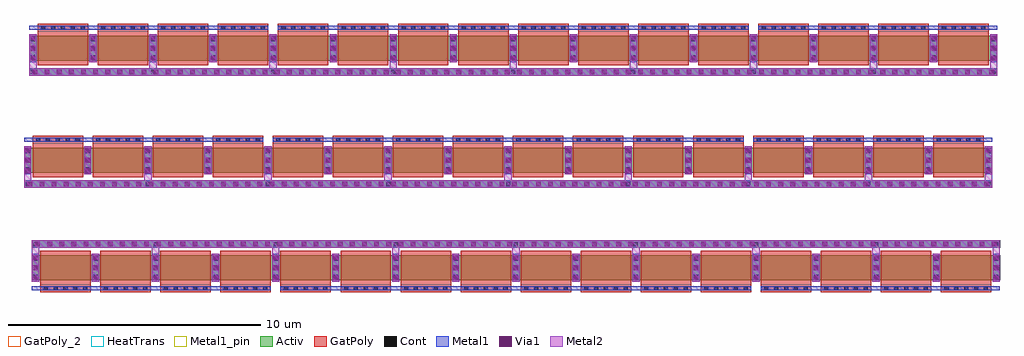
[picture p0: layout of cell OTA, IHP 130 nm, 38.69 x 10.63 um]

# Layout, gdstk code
import gdstk
lib = gdstk.Library(unit=1e-6, precision=1e-09)
def R(c, l, rs):  # rectangles x0, y0, x1, y1
    for r in rs: c.add(gdstk.rectangle(r[:2], r[2:], *l))
def A(c, l, x, y, w, h, nx, ny, dx, dy):  # array of equal rectangles
    R(c, l, [(x+i*dx, y+j*dy, x+i*dx+w, y+j*dy+h) for i in range(nx) for j in range(ny)])
Activ = (1, 0)
GatPoly = (5, 0)
GatPoly_2 = (5, 2)
Cont = (6, 0)
Metal1 = (8, 0)
Metal1_pin = (8, 2)
Metal2 = (10, 0)
Via1 = (19, 0)
HeatTrans = (51, 0)

nmos = lib.new_cell('nmos')
A(nmos, Activ, 0, 0, 0.3, 0.3, 17, 1, 2.38, 0)
R(nmos, Activ, [(0,0,38.38,1)])
A(nmos, GatPoly, 0.34, -0.18, 2, 1.36, 16, 1, 2.38, 0)
R(nmos, GatPoly_2, [(0.34,-0.18,2.34,1.18)])
A(nmos, Cont, 0.07, 0.07, 0.16, 0.16, 17, 3, 2.38, 0.35)
A(nmos, Metal1, 0.07, 0, 0.16, 1, 17, 1, 2.38, 0)
R(nmos, Metal1_pin, [(0.07,0,0.23,1), (2.45,0,2.61,1)])
A(nmos, HeatTrans, 0.34, -0.18, 2, 1.36, 16, 1, 2.38, 0)
nmos.add(gdstk.Label('nmos', (1.34,0.5), layer=63, texttype=0))
nmos.add(gdstk.Label('nmos', (1.34,0.5), layer=51, texttype=0))
nmos.add(gdstk.Label('nmos', (3.72,0.5), layer=51, texttype=0))
nmos.add(gdstk.Label('nmos', (6.1,0.5), layer=51, texttype=0))
nmos.add(gdstk.Label('nmos', (8.48,0.5), layer=51, texttype=0))
nmos.add(gdstk.Label('nmos', (10.86,0.5), layer=51, texttype=0))
nmos.add(gdstk.Label('nmos', (13.24,0.5), layer=51, texttype=0))
nmos.add(gdstk.Label('nmos', (15.62,0.5), layer=51, texttype=0))
nmos.add(gdstk.Label('nmos', (18,0.5), layer=51, texttype=0))
nmos.add(gdstk.Label('nmos', (20.38,0.5), layer=51, texttype=0))
nmos.add(gdstk.Label('nmos', (22.76,0.5), layer=51, texttype=0))
nmos.add(gdstk.Label('nmos', (25.14,0.5), layer=51, texttype=0))
nmos.add(gdstk.Label('nmos', (27.52,0.5), layer=51, texttype=0))
nmos.add(gdstk.Label('nmos', (29.9,0.5), layer=51, texttype=0))
nmos.add(gdstk.Label('nmos', (32.28,0.5), layer=51, texttype=0))
nmos.add(gdstk.Label('nmos', (34.66,0.5), layer=51, texttype=0))
nmos.add(gdstk.Label('nmos', (37.04,0.5), layer=51, texttype=0))

via_stack_1 = lib.new_cell('via_stack$1')
R(via_stack_1, Metal1, [(-0.145,-0.555,0.145,0.555)])
R(via_stack_1, Metal2, [(-0.145,-0.555,0.145,0.555)])
A(via_stack_1, Via1, -0.095, -0.505, 0.19, 0.19, 1, 3, 0, 0.41)

via_stack = lib.new_cell('via_stack')
R(via_stack, Metal1, [(-19.105,-0.145,19.105,0.145)])
R(via_stack, Metal2, [(-19.105,-0.145,19.105,0.145)])
A(via_stack, Via1, -19.055, -0.095, 0.19, 0.19, 80, 1, 0.48, 0)

ota = lib.new_cell('OTA')
R(ota, Activ, [(0.305,-2.97,38.685,-2.67), (0,-0.59,38.38,-0.29), (0.205,3.85,38.585,4.15)])
A(ota, GatPoly, 0.645, -4.725, 2, 0.29, 16, 1, 2.38, 0)
A(ota, GatPoly, 0.34, 1.175, 2, 0.29, 16, 1, 2.38, 0)
A(ota, GatPoly, 0.545, 5.615, 2, 0.29, 16, 1, 2.38, 0)
A(ota, Cont, 0.785, -4.655, 0.16, 0.16, 5, 1, 0.39, 0)
A(ota, Cont, 3.165, -4.655, 0.16, 0.16, 5, 1, 0.39, 0)
A(ota, Cont, 5.545, -4.655, 0.16, 0.16, 5, 1, 0.39, 0)
A(ota, Cont, 7.925, -4.655, 0.16, 0.16, 5, 1, 0.39, 0)
A(ota, Cont, 10.305, -4.655, 0.16, 0.16, 5, 1, 0.39, 0)
A(ota, Cont, 12.685, -4.655, 0.16, 0.16, 5, 1, 0.39, 0)
A(ota, Cont, 15.065, -4.655, 0.16, 0.16, 5, 1, 0.39, 0)
A(ota, Cont, 17.445, -4.655, 0.16, 0.16, 5, 1, 0.39, 0)
A(ota, Cont, 19.825, -4.655, 0.16, 0.16, 5, 1, 0.39, 0)
A(ota, Cont, 22.205, -4.655, 0.16, 0.16, 5, 1, 0.39, 0)
A(ota, Cont, 24.585, -4.655, 0.16, 0.16, 5, 1, 0.39, 0)
A(ota, Cont, 26.965, -4.655, 0.16, 0.16, 5, 1, 0.39, 0)
A(ota, Cont, 29.345, -4.655, 0.16, 0.16, 5, 1, 0.39, 0)
A(ota, Cont, 31.725, -4.655, 0.16, 0.16, 5, 1, 0.39, 0)
A(ota, Cont, 34.105, -4.655, 0.16, 0.16, 5, 1, 0.39, 0)
A(ota, Cont, 36.485, -4.655, 0.16, 0.16, 5, 1, 0.39, 0)
A(ota, Cont, 5.135, -2.9, 0.16, 0.16, 8, 1, 4.76, 0)
A(ota, Cont, 4.83, -0.52, 0.16, 0.16, 8, 1, 4.76, 0)
A(ota, Cont, 0.48, 1.235, 0.16, 0.16, 5, 1, 0.39, 0)
A(ota, Cont, 2.86, 1.235, 0.16, 0.16, 5, 1, 0.39, 0)
A(ota, Cont, 5.24, 1.235, 0.16, 0.16, 5, 1, 0.39, 0)
A(ota, Cont, 7.62, 1.235, 0.16, 0.16, 5, 1, 0.39, 0)
A(ota, Cont, 10, 1.235, 0.16, 0.16, 5, 1, 0.39, 0)
A(ota, Cont, 12.38, 1.235, 0.16, 0.16, 5, 1, 0.39, 0)
A(ota, Cont, 14.76, 1.235, 0.16, 0.16, 5, 1, 0.39, 0)
A(ota, Cont, 17.14, 1.235, 0.16, 0.16, 5, 1, 0.39, 0)
A(ota, Cont, 19.52, 1.235, 0.16, 0.16, 5, 1, 0.39, 0)
A(ota, Cont, 21.9, 1.235, 0.16, 0.16, 5, 1, 0.39, 0)
A(ota, Cont, 24.28, 1.235, 0.16, 0.16, 5, 1, 0.39, 0)
A(ota, Cont, 26.66, 1.235, 0.16, 0.16, 5, 1, 0.39, 0)
A(ota, Cont, 29.04, 1.235, 0.16, 0.16, 5, 1, 0.39, 0)
A(ota, Cont, 31.42, 1.235, 0.16, 0.16, 5, 1, 0.39, 0)
A(ota, Cont, 33.8, 1.235, 0.16, 0.16, 5, 1, 0.39, 0)
A(ota, Cont, 36.18, 1.235, 0.16, 0.16, 5, 1, 0.39, 0)
A(ota, Cont, 5.035, 3.92, 0.16, 0.16, 8, 1, 4.76, 0)
A(ota, Cont, 0.685, 5.675, 0.16, 0.16, 5, 1, 0.39, 0)
A(ota, Cont, 3.065, 5.675, 0.16, 0.16, 5, 1, 0.39, 0)
A(ota, Cont, 5.445, 5.675, 0.16, 0.16, 5, 1, 0.39, 0)
A(ota, Cont, 7.825, 5.675, 0.16, 0.16, 5, 1, 0.39, 0)
A(ota, Cont, 10.205, 5.675, 0.16, 0.16, 5, 1, 0.39, 0)
A(ota, Cont, 12.585, 5.675, 0.16, 0.16, 5, 1, 0.39, 0)
A(ota, Cont, 14.965, 5.675, 0.16, 0.16, 5, 1, 0.39, 0)
A(ota, Cont, 17.345, 5.675, 0.16, 0.16, 5, 1, 0.39, 0)
A(ota, Cont, 19.725, 5.675, 0.16, 0.16, 5, 1, 0.39, 0)
A(ota, Cont, 22.105, 5.675, 0.16, 0.16, 5, 1, 0.39, 0)
A(ota, Cont, 24.485, 5.675, 0.16, 0.16, 5, 1, 0.39, 0)
A(ota, Cont, 26.865, 5.675, 0.16, 0.16, 5, 1, 0.39, 0)
A(ota, Cont, 29.245, 5.675, 0.16, 0.16, 5, 1, 0.39, 0)
A(ota, Cont, 31.625, 5.675, 0.16, 0.16, 5, 1, 0.39, 0)
A(ota, Cont, 34.005, 5.675, 0.16, 0.16, 5, 1, 0.39, 0)
A(ota, Cont, 36.385, 5.675, 0.16, 0.16, 5, 1, 0.39, 0)
R(ota, Cont, [(0.375,-2.9,0.535,-2.74), (0.375,-2.9,0.535,-2.74), (5.135,-2.9,5.295,-2.74), (0.07,-0.52,0.23,-0.36), (0.07,-0.52,0.23,-0.36), (4.83,-0.52,4.99,-0.36), (0.275,3.92,0.435,4.08), (0.275,3.92,0.435,4.08), (5.035,3.92,5.195,4.08)])
R(ota, Metal1, [(0.31,-2.965,0.415,-2.675), (38.585,-2.965,38.68,-2.675), (0.005,-0.585,0.11,-0.295), (38.28,-0.585,38.375,-0.295), (0.21,3.855,0.315,4.145), (38.485,3.855,38.58,4.145)])
R(ota, Metal2, [(0.31,-2.965,0.415,-2.675), (38.555,-2.965,38.68,-2.675), (0.005,-0.585,0.11,-0.295), (38.25,-0.585,38.375,-0.295), (0.21,3.855,0.315,4.145), (38.455,3.855,38.58,4.145)])
ota.add(gdstk.FlexPath([(9.785,-4.575),(0.31,-4.575)], 0.16, ends="flush", simple_path=True, layer=8, datatype=0))  # Metal1
ota.add(gdstk.FlexPath([(28.825,-4.575),(10.165,-4.575)], 0.16, ends="flush", simple_path=True, layer=8, datatype=0))  # Metal1
ota.add(gdstk.FlexPath([(29.205,-4.575),(38.68,-4.575)], 0.16, ends="flush", simple_path=True, layer=8, datatype=0))  # Metal1
ota.add(gdstk.FlexPath([(9.685,5.755),(0.21,5.755)], 0.16, ends="flush", simple_path=True, layer=8, datatype=0))  # Metal1
ota.add(gdstk.FlexPath([(28.725,5.755),(10.065,5.755)], 0.16, ends="flush", simple_path=True, layer=8, datatype=0))  # Metal1
ota.add(gdstk.FlexPath([(29.105,5.755),(38.58,5.755)], 0.16, ends="flush", simple_path=True, layer=8, datatype=0))  # Metal1
ota.add(gdstk.FlexPath([(9.48,1.315),(0.005,1.315)], 0.16, ends="flush", simple_path=True, layer=8, datatype=0))  # Metal1
ota.add(gdstk.FlexPath([(28.52,1.315),(9.86,1.315)], 0.16, ends="flush", simple_path=True, layer=8, datatype=0))  # Metal1
ota.add(gdstk.FlexPath([(28.9,1.315),(38.375,1.315)], 0.16, ends="flush", simple_path=True, layer=8, datatype=0))  # Metal1
ota.add(gdstk.FlexPath([(0.455,-3.22),(0.455,-2.84)], 0.29, ends="flush", simple_path=True, layer=10, datatype=0))  # Metal2
ota.add(gdstk.FlexPath([(19.495,-3.245),(19.495,-2.865)], 0.29, ends="flush", simple_path=True, layer=10, datatype=0))  # Metal2
ota.add(gdstk.FlexPath([(5.215,-3.22),(5.215,-2.84)], 0.29, ends="flush", simple_path=True, layer=10, datatype=0))  # Metal2
ota.add(gdstk.FlexPath([(9.975,-3.225),(9.975,-2.845)], 0.29, ends="flush", simple_path=True, layer=10, datatype=0))  # Metal2
ota.add(gdstk.FlexPath([(14.735,-3.225),(14.735,-2.845)], 0.29, ends="flush", simple_path=True, layer=10, datatype=0))  # Metal2
ota.add(gdstk.FlexPath([(24.255,-3.26),(24.255,-2.88)], 0.29, ends="flush", simple_path=True, layer=10, datatype=0))  # Metal2
ota.add(gdstk.FlexPath([(29.015,-3.235),(29.015,-2.855)], 0.29, ends="flush", simple_path=True, layer=10, datatype=0))  # Metal2
ota.add(gdstk.FlexPath([(33.775,-3.235),(33.775,-2.855)], 0.29, ends="flush", simple_path=True, layer=10, datatype=0))  # Metal2
ota.add(gdstk.FlexPath([(38.535,-3.23),(38.535,-2.85)], 0.29, ends="flush", simple_path=True, layer=10, datatype=0))  # Metal2
ota.add(gdstk.FlexPath([(0.355,4.4),(0.355,4.02)], 0.29, ends="flush", simple_path=True, layer=10, datatype=0))  # Metal2
ota.add(gdstk.FlexPath([(19.395,4.425),(19.395,4.045)], 0.29, ends="flush", simple_path=True, layer=10, datatype=0))  # Metal2
ota.add(gdstk.FlexPath([(5.115,4.4),(5.115,4.02)], 0.29, ends="flush", simple_path=True, layer=10, datatype=0))  # Metal2
ota.add(gdstk.FlexPath([(9.875,4.405),(9.875,4.025)], 0.29, ends="flush", simple_path=True, layer=10, datatype=0))  # Metal2
ota.add(gdstk.FlexPath([(14.635,4.405),(14.635,4.025)], 0.29, ends="flush", simple_path=True, layer=10, datatype=0))  # Metal2
ota.add(gdstk.FlexPath([(24.155,4.44),(24.155,4.06)], 0.29, ends="flush", simple_path=True, layer=10, datatype=0))  # Metal2
ota.add(gdstk.FlexPath([(28.915,4.415),(28.915,4.035)], 0.29, ends="flush", simple_path=True, layer=10, datatype=0))  # Metal2
ota.add(gdstk.FlexPath([(33.675,4.415),(33.675,4.035)], 0.29, ends="flush", simple_path=True, layer=10, datatype=0))  # Metal2
ota.add(gdstk.FlexPath([(38.435,4.41),(38.435,4.03)], 0.29, ends="flush", simple_path=True, layer=10, datatype=0))  # Metal2
ota.add(gdstk.FlexPath([(0.15,-0.04),(0.15,-0.42)], 0.29, ends="flush", simple_path=True, layer=10, datatype=0))  # Metal2
ota.add(gdstk.FlexPath([(19.19,-0.015),(19.19,-0.395)], 0.29, ends="flush", simple_path=True, layer=10, datatype=0))  # Metal2
ota.add(gdstk.FlexPath([(4.91,-0.04),(4.91,-0.42)], 0.29, ends="flush", simple_path=True, layer=10, datatype=0))  # Metal2
ota.add(gdstk.FlexPath([(9.67,-0.035),(9.67,-0.415)], 0.29, ends="flush", simple_path=True, layer=10, datatype=0))  # Metal2
ota.add(gdstk.FlexPath([(14.43,-0.035),(14.43,-0.415)], 0.29, ends="flush", simple_path=True, layer=10, datatype=0))  # Metal2
ota.add(gdstk.FlexPath([(23.95,0),(23.95,-0.38)], 0.29, ends="flush", simple_path=True, layer=10, datatype=0))  # Metal2
ota.add(gdstk.FlexPath([(28.71,-0.025),(28.71,-0.405)], 0.29, ends="flush", simple_path=True, layer=10, datatype=0))  # Metal2
ota.add(gdstk.FlexPath([(33.47,-0.025),(33.47,-0.405)], 0.29, ends="flush", simple_path=True, layer=10, datatype=0))  # Metal2
ota.add(gdstk.FlexPath([(38.23,-0.03),(38.23,-0.41)], 0.29, ends="flush", simple_path=True, layer=10, datatype=0))  # Metal2
ota.add(gdstk.Reference(nmos, (0,0)))
ota.add(gdstk.Reference(via_stack_1, (14.43,0.5)))
ota.add(gdstk.Reference(via_stack_1, (12.05,0.5)))
ota.add(gdstk.Reference(via_stack_1, (9.67,0.5)))
ota.add(gdstk.Reference(via_stack_1, (7.29,0.5)))
ota.add(gdstk.Reference(via_stack_1, (4.91,0.5)))
ota.add(gdstk.Reference(via_stack_1, (0.15,0.5)))
ota.add(gdstk.Reference(via_stack_1, (2.53,0.5)))
ota.add(gdstk.Reference(via_stack_1, (14.43,0.5)))
ota.add(gdstk.Reference(via_stack_1, (16.81,0.5)))
ota.add(gdstk.Reference(via_stack_1, (16.81,0.5)))
ota.add(gdstk.Reference(via_stack_1, (28.71,0.5)))
ota.add(gdstk.Reference(via_stack_1, (26.33,0.5)))
ota.add(gdstk.Reference(via_stack_1, (23.95,0.5)))
ota.add(gdstk.Reference(via_stack_1, (21.57,0.5)))
ota.add(gdstk.Reference(via_stack_1, (19.19,0.5)))
ota.add(gdstk.Reference(via_stack_1, (28.71,0.5)))
ota.add(gdstk.Reference(via_stack_1, (31.09,0.5)))
ota.add(gdstk.Reference(via_stack_1, (31.09,0.5)))
ota.add(gdstk.Reference(via_stack_1, (35.85,0.5)))
ota.add(gdstk.Reference(via_stack_1, (33.47,0.5)))
ota.add(gdstk.Reference(via_stack_1, (35.85,0.5)))
ota.add(gdstk.Reference(via_stack_1, (38.23,0.5)))
ota.add(gdstk.Reference(via_stack_1, (38.23,0.5)))
ota.add(gdstk.Reference(via_stack, (19.19,-0.44)))
ota.add(gdstk.Reference(nmos, (0.205,4.44)))
ota.add(gdstk.Reference(via_stack_1, (14.635,4.94)))
ota.add(gdstk.Reference(via_stack_1, (12.255,4.94)))
ota.add(gdstk.Reference(via_stack_1, (9.875,4.94)))
ota.add(gdstk.Reference(via_stack_1, (7.495,4.94)))
ota.add(gdstk.Reference(via_stack_1, (5.115,4.94)))
ota.add(gdstk.Reference(via_stack_1, (0.355,4.94)))
ota.add(gdstk.Reference(via_stack_1, (2.735,4.94)))
ota.add(gdstk.Reference(via_stack_1, (14.635,4.94)))
ota.add(gdstk.Reference(via_stack_1, (17.015,4.94)))
ota.add(gdstk.Reference(via_stack_1, (17.015,4.94)))
ota.add(gdstk.Reference(via_stack_1, (28.915,4.94)))
ota.add(gdstk.Reference(via_stack_1, (26.535,4.94)))
ota.add(gdstk.Reference(via_stack_1, (24.155,4.94)))
ota.add(gdstk.Reference(via_stack_1, (21.775,4.94)))
ota.add(gdstk.Reference(via_stack_1, (19.395,4.94)))
ota.add(gdstk.Reference(via_stack_1, (28.915,4.94)))
ota.add(gdstk.Reference(via_stack_1, (31.295,4.94)))
ota.add(gdstk.Reference(via_stack_1, (31.295,4.94)))
ota.add(gdstk.Reference(via_stack_1, (36.055,4.94)))
ota.add(gdstk.Reference(via_stack_1, (33.675,4.94)))
ota.add(gdstk.Reference(via_stack_1, (36.055,4.94)))
ota.add(gdstk.Reference(via_stack_1, (38.435,4.94)))
ota.add(gdstk.Reference(via_stack_1, (38.435,4.94)))
ota.add(gdstk.Reference(via_stack, (19.395,4)))
ota.add(gdstk.Reference(nmos, (0.305,-3.26), x_reflection=True))
ota.add(gdstk.Reference(via_stack_1, (14.735,-3.76), x_reflection=True))
ota.add(gdstk.Reference(via_stack_1, (12.355,-3.76), x_reflection=True))
ota.add(gdstk.Reference(via_stack_1, (9.975,-3.76), x_reflection=True))
ota.add(gdstk.Reference(via_stack_1, (7.595,-3.76), x_reflection=True))
ota.add(gdstk.Reference(via_stack_1, (5.215,-3.76), x_reflection=True))
ota.add(gdstk.Reference(via_stack_1, (0.455,-3.76), x_reflection=True))
ota.add(gdstk.Reference(via_stack_1, (2.835,-3.76), x_reflection=True))
ota.add(gdstk.Reference(via_stack_1, (14.735,-3.76), x_reflection=True))
ota.add(gdstk.Reference(via_stack_1, (17.115,-3.76), x_reflection=True))
ota.add(gdstk.Reference(via_stack_1, (17.115,-3.76), x_reflection=True))
ota.add(gdstk.Reference(via_stack_1, (29.015,-3.76), x_reflection=True))
ota.add(gdstk.Reference(via_stack_1, (26.635,-3.76), x_reflection=True))
ota.add(gdstk.Reference(via_stack_1, (24.255,-3.76), x_reflection=True))
ota.add(gdstk.Reference(via_stack_1, (21.875,-3.76), x_reflection=True))
ota.add(gdstk.Reference(via_stack_1, (19.495,-3.76), x_reflection=True))
ota.add(gdstk.Reference(via_stack_1, (29.015,-3.76), x_reflection=True))
ota.add(gdstk.Reference(via_stack_1, (31.395,-3.76), x_reflection=True))
ota.add(gdstk.Reference(via_stack_1, (31.395,-3.76), x_reflection=True))
ota.add(gdstk.Reference(via_stack_1, (36.155,-3.76), x_reflection=True))
ota.add(gdstk.Reference(via_stack_1, (33.775,-3.76), x_reflection=True))
ota.add(gdstk.Reference(via_stack_1, (36.155,-3.76), x_reflection=True))
ota.add(gdstk.Reference(via_stack_1, (38.535,-3.76), x_reflection=True))
ota.add(gdstk.Reference(via_stack_1, (38.535,-3.76), x_reflection=True))
ota.add(gdstk.Reference(via_stack, (19.495,-2.82), x_reflection=True))

lib.write_gds('OTA.gds')
